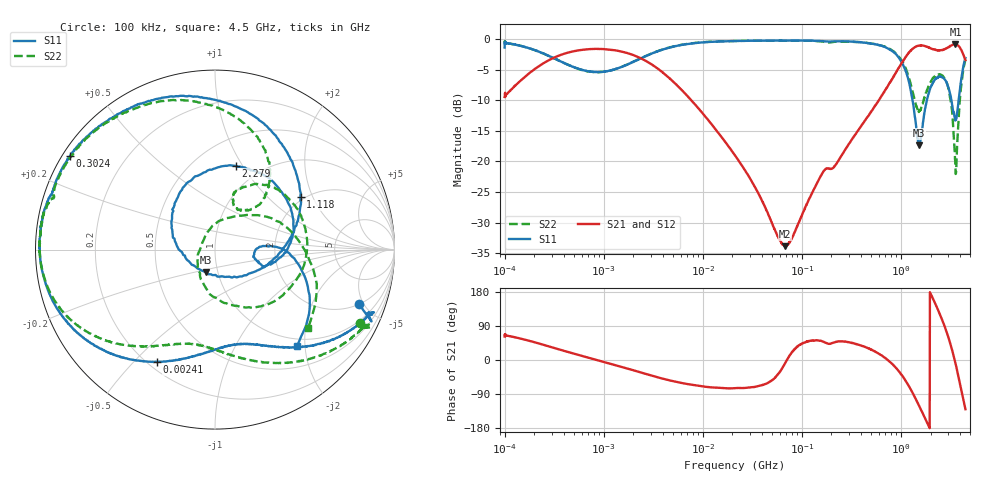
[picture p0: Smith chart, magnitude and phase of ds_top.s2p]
!Keysight Technologies,E5080A,MY55200853,A.11.70.00
!Date: Wednesday, June 05, 2024 14:08:17
!Correction: S11(Full 2 Port(1,2))
!S21(Full 2 Port(1,2))
!S12(Full 2 Port(1,2))
!S22(Full 2 Port(1,2))
!S2P File: Measurements: S11, S21, S12, S22:Log Frequency Sweep
#Hz S  RI  R 50
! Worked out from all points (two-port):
!   2001 points, 100 kHz to 4.5 GHz, reference 50 ohm
!   highest |S21| = -0.78 dB at 3.574 GHz (marker M1); lowest = -33.9 dB at 67.12 MHz (marker M2)
!   |S21| within 3 dB of the highest: 254.6 kHz to 2.845 MHz (2.591 MHz wide, 167 % of centre); 1.031 GHz to end of sweep
!   lowest |S11| = -17.4 dB at 1.533 GHz (marker M3), VSWR 1.31, Z = 43.8 - j11.2 ohm
!   |S11| at or under -10 dB: 1.317 GHz to 1.839 GHz (522.4 MHz wide, 33.1 % of centre); 3.254 GHz to 3.847 GHz (592.4 MHz wide, 16.7 % of centre)
!   |S22| runs from -22.1 to -0.2 dB; largest |S21 - S12| = 0.0041
!   S11 on the Smith chart (normalised r, x): 100 kHz: 2.00, -4.62; 2.41 MHz: 0.24, -0.58; 302.4 MHz: 0.02, +0.29; 1.118 GHz: 1.92, +1.63; 2.279 GHz: 0.77, +0.93; 4.5 GHz: 0.87, -1.85
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100000  0.8022 -0.3043  0.1584 0.2982  0.1555 0.2961  0.8072 -0.4096
251290.6  0.5425 -0.5361  0.4973 0.4094  0.4964 0.4094  0.4308 -0.6278
598530.8  0.2009 -0.5273  0.8057 0.1563  0.8052 0.1578  0.0185 -0.5628
2409928  -0.3229 -0.6252  0.5815 -0.3833  0.5822 -0.3827  -0.4564 -0.5368
3563251  -0.5416 -0.5933  0.3953 -0.4125  0.3978 -0.4141  -0.6332 -0.4966
2.132715e7  -0.9619 -0.1231  0.0303 -0.1072  0.0304 -0.1075  -0.9676 -0.0956
6.711608e7  -0.9724 0.0802  0.0198 -0.00399  0.02 -0.00434  -0.9726 0.0867
1.269676e8  -0.9531 0.2098  0.0341 0.0432  0.0344 0.043  -0.9535 0.2034
3.024147e8  -0.8091 0.5196  0.0965 0.1022  0.0969 0.1024  -0.8311 0.4756
5.084916e8  -0.4924 0.7798  0.2314 0.1158  0.2324 0.1158  -0.5635 0.7325
7.558796e8  -0.0039 0.8351  0.4248 -0.0178  0.4263 -0.018  -0.1532 0.8305
1.117622e9  0.477 0.2911  0.4219 -0.5782  0.4227 -0.5811  0.2948 0.5036
1.333745e9  0.2833 -0.0916  0.0132 -0.8433  0.0125 -0.8457  0.2516 0.2548
1.533079e9  -0.051 -0.1257  -0.4562 -0.7642  -0.4591 -0.7654  0.1244 0.2286
1.869171e9  -0.2255 0.2489  -0.8503 -0.1754  -0.8538 -0.1753  0.1774 0.3539
2.278943e9  0.1165 0.4663  -0.6558 0.4888  -0.6569 0.4909  0.4455 0.2462
2.619541e9  0.3787 0.308  -0.227 0.7878  -0.227 0.7902  0.5052 -0.0503
2.93146e9  0.4314 0.0673  0.2741 0.804  0.2766 0.8048  0.3305 -0.2884
3.210971e9  0.3281 -0.0708  0.7024 0.5421  0.7049 0.5429  0.0652 -0.2997
3.574114e9  0.2167 -0.0309  0.9041 -0.137  0.9061 -0.1376  -0.0862 -0.00457
3.999698e9  0.4147 -0.0213  0.3493 -0.7699  0.3494 -0.7724  0.3135 0.1755
4.5e9  0.4585 -0.5352  -0.4347 -0.5206  -0.4373 -0.521  0.5184 -0.4361
